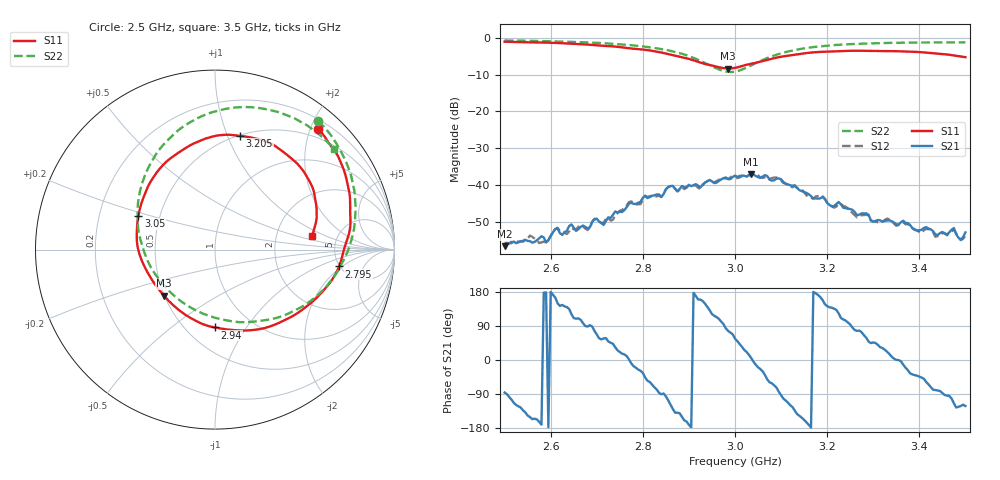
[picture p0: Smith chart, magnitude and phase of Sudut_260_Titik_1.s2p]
# Hz S RI R 50
! CMT, C1220, 16058040, 17.2.0/1
! Date: 15/08/2018 09:49:49
! Data: Format (Calibration Info)
! Freq  S11: Re/Im (F2)  S21: Re/Im (F2)  S12: Re/Im (F2)  S22: Re/Im (F2)
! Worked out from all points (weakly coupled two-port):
!   201 points, 2.5 GHz to 3.5 GHz, reference 50 ohm
!   highest |S21| = -37.09 dB at 3.035 GHz (marker M1); lowest = -56.5 dB at 2.5 GHz (marker M2)
!   lowest |S11| = -8.3 dB at 2.985 GHz (marker M3), VSWR 2.24, Z = 24.9 - j14.9 ohm
!   |S11| at or under -10 dB: nowhere
!   |S22| runs from -9.3 to -0.7 dB; largest |S21 - S12| = 0.0011
!   S11 on the Smith chart (normalised r, x): 2.5 GHz: 0.35, +2.13; 2.795 GHz: 4.93, -1.81; 2.94 GHz: 0.68, -0.73; 3.05 GHz: 0.38, +0.18; 3.205 GHz: 0.51, +1.11; 3.5 GHz: 3.24, +0.70
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2.5e9  0.5758 0.6709  0.000108 -0.00148  0.000134 -0.00164  0.5747 0.7181
2.555e9  0.6409 0.5836  -0.00152 -0.000854  -0.00177 -0.00107  0.6365 0.6495
2.59e9  0.6859 0.519  -0.00167 5.45e-05  -0.00162 -6.5e-05  0.6731 0.5965
2.615e9  0.7082 0.4691  -0.00223 0.00131  -0.00233 0.00125  0.6977 0.554
2.67e9  0.7472 0.3286  -0.000369 0.00281  -0.000188 0.00276  0.7477 0.444
2.715e9  0.7537 0.1927  0.00158 0.00242  0.00165 0.00261  0.7752 0.3334
2.77e9  0.7203 0.00684  0.00563 0.000134  0.0059 4.64e-05  0.7807 0.1666
2.795e9  0.6915 -0.0939  0.00523 -0.00284  0.00483 -0.00271  0.7668 0.0784
2.835e9  0.5933 -0.2403  0.000473 -0.00747  0.000686 -0.00717  0.7066 -0.0777
2.94e9  9.1e-05 -0.4338  -0.00871 0.00724  -0.0089 0.007  0.1738 -0.405
2.985e9  -0.2845 -0.2563  0.00274 0.0117  0.00225 0.0121  -0.1814 -0.2939
3e9  -0.3564 -0.1599  0.00747 0.0112  0.00812 0.0109  -0.2805 -0.2039
3.035e9  -0.4359 0.0825  0.0139 0.00133  0.0137 0.00176  -0.4161 0.0589
3.05e9  -0.4273 0.187  0.0122 -0.00424  0.0127 -0.00498  -0.4314 0.1794
3.11e9  -0.248 0.5087  -0.00304 -0.0101  -0.0033 -0.0099  -0.3071 0.5613
3.17e9  0.00531 0.6343  -0.00658 3.09e-05  -0.00655 -0.000467  -0.0715 0.7444
3.205e9  0.1386 0.6336  -0.00409 0.00353  -0.00394 0.00382  0.06 0.7841
3.335e9  0.4762 0.4582  0.00321 0.000908  0.00336 0.000737  0.4176 0.7419
3.435e9  0.565 0.2395  0.000399 -0.00211  0.0003 -0.00197  0.5868 0.6363
3.475e9  0.5589 0.1388  -0.00108 -0.00239  -0.000973 -0.00229  0.6369 0.5893
3.49e9  0.5485 0.1001  -0.000947 -0.00155  -0.00105 -0.00146  0.6538 0.5706
3.5e9  0.5404 0.0759  -0.00119 -0.00195  -0.00122 -0.00164  0.6651 0.5577
